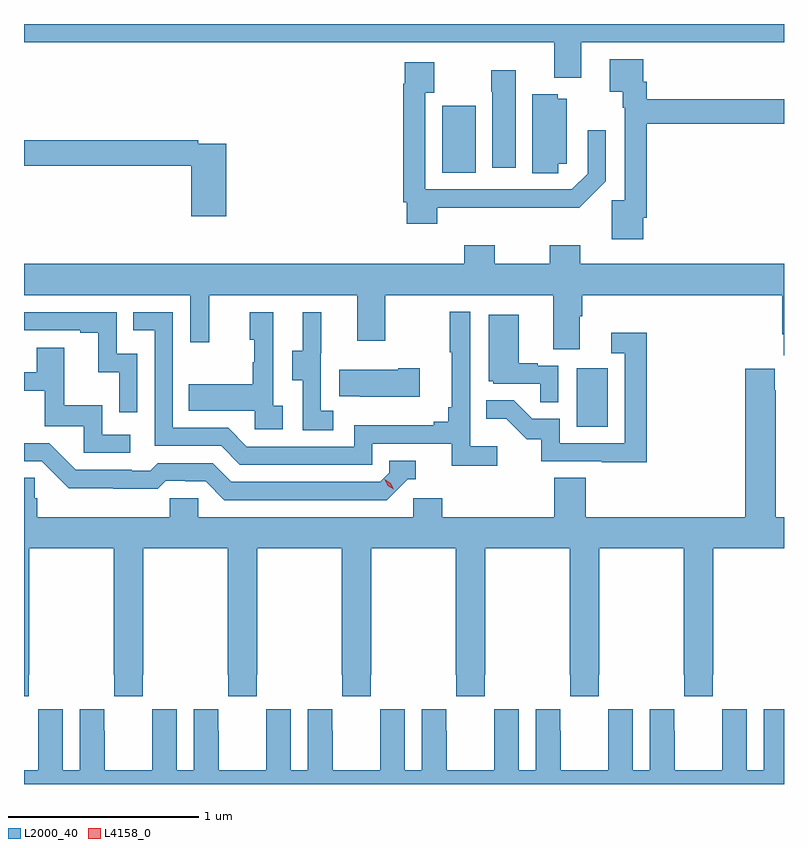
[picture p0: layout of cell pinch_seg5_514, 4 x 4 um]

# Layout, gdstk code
import gdstk
lib = gdstk.Library(unit=1e-6, precision=1e-09)
def R(c, l, rs):  # rectangles x0, y0, x1, y1
    for r in rs: c.add(gdstk.rectangle(r[:2], r[2:], *l))
def P(c, l, *ps):  # polygons
    for p in ps: c.add(gdstk.Polygon(p, *l))
L2000_40 = (2000, 40)
L4158_0 = (4158, 0)

pinch_seg5_514 = lib.new_cell('pinch_seg5_514')
R(pinch_seg5_514, L2000_40, [(925.268,837.42,925.432,837.727)])
P(pinch_seg5_514, L2000_40, [(925.291,839.444),(926.359,839.444),(926.359,839.539),(922.359,839.539),(922.359,839.444),(925.151,839.444),(925.151,839.255),(925.291,839.255)],
  [(925.618,838.519),(925.637,838.519),(925.637,839.014),(926.359,839.014),(926.359,839.143),(925.637,839.143),(925.637,839.234),(925.617,839.234),(925.617,839.353),(925.443,839.353),(925.443,839.183),(925.509,839.183),(925.509,839.099),(925.521,839.099),(925.521,838.611),(925.452,838.611),(925.452,838.407),(925.618,838.407)],
  [(924.535,838.571),(925.281,838.571),(925.422,838.712),(925.422,838.981),(925.326,838.981),(925.326,838.752),(925.242,838.668),(924.471,838.668),(924.471,839.178),(924.517,839.178),(924.517,839.338),(924.363,839.338),(924.363,839.225),(924.355,839.225),(924.355,838.6),(924.374,838.6),(924.374,838.488),(924.535,838.488)],
  [(924.946,839.296),(924.817,839.296),(924.817,839.183),(924.824,839.183),(924.824,838.782),(924.946,838.782)],
  [(925.17,838.803),(925.216,838.803),(925.216,839.146),(925.167,839.146),(925.167,839.17),(925.034,839.17),(925.034,838.753),(925.17,838.753)],
  [(924.736,839.109),(924.561,839.109),(924.561,839.006),(924.56,839.006),(924.56,838.757),(924.736,838.757)],
  [(923.423,838.908),(923.276,838.908),(923.276,838.928),(922.359,838.928),(922.359,838.792),(923.24,838.792),(923.24,838.527),(923.423,838.527)],
  [(922.359,838.112),(923.235,838.112),(923.235,837.864),(923.333,837.864),(923.333,838.112),(924.113,838.112),(924.113,837.873),(924.261,837.873),(924.261,838.112),(925.145,838.112),(925.145,837.826),(925.285,837.826),(925.285,838),(925.298,838),(925.298,838.112),(926.351,838.112),(926.351,837.907),(926.357,837.907),(926.357,837.795),(926.359,837.795),(926.359,838.276),(925.286,838.276),(925.286,838.375),(925.126,838.375),(925.126,838.276),(924.837,838.276),(924.837,838.375),(924.677,838.375),(924.677,838.276),(922.359,838.276)],
  [(924.85,837.316),(924.708,837.316),(924.708,838.024),(924.6,838.024),(924.6,837.811),(924.611,837.811),(924.611,837.523),(924.592,837.523),(924.592,837.446),(924.515,837.446),(924.515,837.427),(924.096,837.427),(924.096,837.315),(923.532,837.315),(923.433,837.414),(923.142,837.414),(923.142,838.023),(922.933,838.023),(922.933,837.927),(923.046,837.927),(923.046,837.318),(923.396,837.318),(923.495,837.219),(924.192,837.219),(924.192,837.33),(924.611,837.33),(924.611,837.214),(924.85,837.214)],
  [(922.956,837.804),(922.848,837.804),(922.848,838.023),(922.359,838.023),(922.359,837.927),(922.655,837.927),(922.655,837.915),(922.751,837.915),(922.751,837.707),(922.86,837.707),(922.86,837.495),(922.956,837.495)],
  [(923.986,837.503),(923.922,837.503),(923.922,837.807),(923.924,837.807),(923.924,838.021),(923.825,838.021),(923.825,837.819),(923.771,837.819),(923.771,837.664),(923.826,837.664),(923.826,837.4),(923.986,837.4)],
  [(923.722,837.53),(923.67,837.53),(923.67,838.021),(923.546,838.021),(923.546,837.876),(923.572,837.876),(923.572,837.758),(923.562,837.758),(923.562,837.643),(923.227,837.643),(923.227,837.503),(923.574,837.503),(923.574,837.405),(923.722,837.405)],
  [(925.17,837.741),(925.064,837.741),(925.064,837.754),(924.964,837.754),(924.964,838.009),(924.806,838.009),(924.806,837.66),(924.828,837.66),(924.828,837.645),(925.075,837.645),(925.075,837.547),(925.17,837.547)],
  [(925.637,837.913),(925.449,837.913),(925.449,837.807),(925.521,837.807),(925.521,837.333),(925.179,837.333),(925.179,837.462),(925.035,837.462),(924.937,837.56),(924.793,837.56),(924.793,837.461),(924.897,837.461),(925.004,837.354),(925.081,837.354),(925.081,837.237),(925.399,837.237),(925.399,837.232),(925.637,837.232)],
  [(922.918,837.378),(922.77,837.378),(922.77,837.532),(922.571,837.532),(922.571,837.835),(922.427,837.835),(922.427,837.705),(922.359,837.705),(922.359,837.609),(922.469,837.609),(922.469,837.423),(922.674,837.423),(922.674,837.282),(922.918,837.282)],
  [(924.442,837.726),(924.329,837.726),(924.329,837.718),(924.019,837.718),(924.019,837.581),(924.127,837.581),(924.127,837.578),(924.442,837.578)],
  [(922.383,836.113),(922.386,836.113),(922.386,836.78),(922.831,836.78),(922.831,836.113),(922.833,836.113),(922.833,836.001),(922.983,836.001),(922.983,836.113),(922.986,836.113),(922.986,836.78),(923.431,836.78),(923.431,836.113),(923.433,836.113),(923.433,836.001),(923.583,836.001),(923.583,836.113),(923.586,836.113),(923.586,836.78),(924.031,836.78),(924.031,836.113),(924.033,836.113),(924.033,836.001),(924.183,836.001),(924.183,836.113),(924.186,836.113),(924.186,836.78),(924.631,836.78),(924.631,836.113),(924.633,836.113),(924.633,836.001),(924.783,836.001),(924.783,836.113),(924.786,836.113),(924.786,836.78),(925.231,836.78),(925.231,836.113),(925.233,836.113),(925.233,836.001),(925.383,836.001),(925.383,836.113),(925.386,836.113),(925.386,836.78),(925.831,836.78),(925.831,836.113),(925.833,836.113),(925.833,836.001),(925.983,836.001),(925.983,836.113),(925.986,836.113),(925.986,836.78),(926.359,836.78),(926.359,836.944),(926.316,836.944),(926.316,837.611),(926.311,837.611),(926.311,837.724),(926.156,837.724),(926.156,836.944),(925.316,836.944),(925.316,837.152),(925.151,837.152),(925.151,836.944),(924.56,836.944),(924.56,837.042),(924.408,837.042),(924.408,836.944),(923.277,836.944),(923.277,837.042),(923.127,837.042),(923.127,836.944),(922.43,836.944),(922.43,837.042),(922.415,837.042),(922.415,837.152),(922.359,837.152),(922.359,836.001),(922.383,836.001)],
  [(924.378,837.144),(924.421,837.144),(924.421,837.24),(924.282,837.24),(924.282,837.177),(924.234,837.129),(923.451,837.129),(923.352,837.228),(923.063,837.228),(923.024,837.189),(922.925,837.189),(922.925,837.192),(922.632,837.192),(922.491,837.333),(922.359,837.333),(922.359,837.237),(922.452,837.237),(922.594,837.095),(922.83,837.095),(922.83,837.093),(923.063,837.093),(923.105,837.135),(923.208,837.135),(923.208,837.132),(923.315,837.132),(923.414,837.033),(924.267,837.033)],
  [(924.452,835.933),(924.452,835.612),(924.364,835.612),(924.364,835.933),(924.234,835.933),(924.234,835.82),(924.233,835.82),(924.233,835.612),(923.983,835.612),(923.983,835.82),(923.982,835.82),(923.982,835.933),(923.852,835.933),(923.852,835.612),(923.764,835.612),(923.764,835.933),(923.634,835.933),(923.634,835.82),(923.633,835.82),(923.633,835.612),(923.383,835.612),(923.383,835.82),(923.382,835.82),(923.382,835.933),(923.252,835.933),(923.252,835.612),(923.164,835.612),(923.164,835.933),(923.034,835.933),(923.034,835.82),(923.033,835.82),(923.033,835.612),(922.783,835.612),(922.783,835.82),(922.782,835.82),(922.782,835.933),(922.652,835.933),(922.652,835.612),(922.564,835.612),(922.564,835.933),(922.434,835.933),(922.434,835.82),(922.433,835.82),(922.433,835.612),(922.359,835.612),(922.359,835.539),(926.359,835.539),(926.359,835.933),(926.252,835.933),(926.252,835.612),(926.164,835.612),(926.164,835.933),(926.034,835.933),(926.034,835.82),(926.033,835.82),(926.033,835.612),(925.783,835.612),(925.783,835.82),(925.782,835.82),(925.782,835.933),(925.652,835.933),(925.652,835.612),(925.564,835.612),(925.564,835.933),(925.434,835.933),(925.434,835.82),(925.433,835.82),(925.433,835.612),(925.183,835.612),(925.183,835.82),(925.182,835.82),(925.182,835.933),(925.052,835.933),(925.052,835.612),(924.964,835.612),(924.964,835.933),(924.834,835.933),(924.834,835.82),(924.833,835.82),(924.833,835.612),(924.583,835.612),(924.583,835.82),(924.582,835.82),(924.582,835.933)])
P(pinch_seg5_514, L4158_0, [(924.304,837.09),(924.274,837.11),(924.257,837.143),(924.257,837.143),(924.258,837.143),(924.288,837.123),(924.305,837.09),(924.305,837.09)])

lib.write_gds('pinch_seg5_514.gds')
